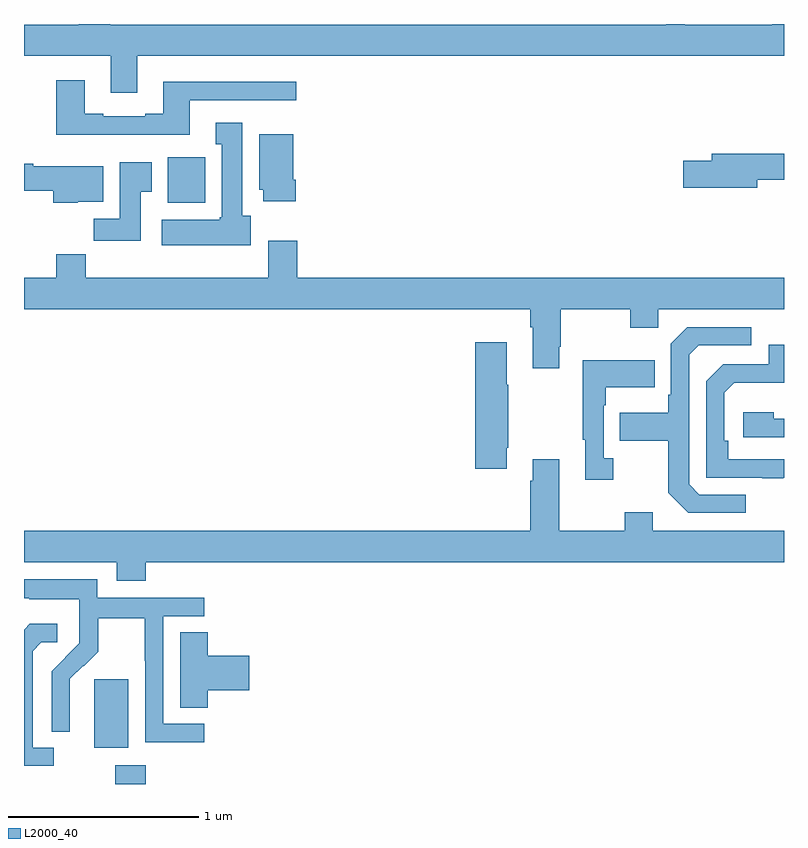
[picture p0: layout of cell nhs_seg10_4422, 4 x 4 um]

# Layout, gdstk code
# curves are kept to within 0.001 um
import gdstk
lib = gdstk.Library(unit=1e-6, precision=1e-09)
def R(c, l, rs):  # rectangles x0, y0, x1, y1
    for r in rs: c.add(gdstk.rectangle(r[:2], r[2:], *l))
def P(c, l, *ps):  # polygons
    for p in ps: c.add(gdstk.Polygon(p, *l))
L2000_40 = (2000, 40)

nhs_seg10_4422 = lib.new_cell('nhs_seg10_4422')
R(nhs_seg10_4422, L2000_40, [(361.48,1280.5,361.64,1280.599), (361.37,1280.69,361.549,1281.051), (361.757,1283.558,361.954,1283.8)])
P(nhs_seg10_4422, L2000_40, [(361.597,1284.332),(365,1284.332),(365,1284.5),(364.939,1284.5),(364.939,1284.496),(364.478,1284.496),(364.478,1284.5),(364.379,1284.5),(364.379,1284.496),(361.454,1284.496),(361.454,1284.5),(361.289,1284.5),(361.289,1284.496),(361,1284.496),(361,1284.332),(361.457,1284.332),(361.457,1284.138),(361.597,1284.138)],
  [(361.873,1284.099),(362.434,1284.099),(362.434,1284.196),(361.733,1284.196),(361.733,1284.028),(361.637,1284.028),(361.637,1284.015),(361.417,1284.015),(361.417,1284.028),(361.321,1284.028),(361.321,1284.205),(361.169,1284.205),(361.169,1283.918),(361.873,1283.918)],
  [(362.194,1283.49),(362.149,1283.49),(362.149,1283.98),(362.009,1283.98),(362.009,1283.867),(362.042,1283.867),(362.042,1283.484),(362.029,1283.484),(362.029,1283.47),(361.725,1283.47),(361.725,1283.336),(362.194,1283.336)],
  [(362.429,1283.68),(362.416,1283.68),(362.416,1283.92),(362.237,1283.92),(362.237,1283.628),(362.258,1283.628),(362.258,1283.568),(362.429,1283.568)],
  [(364.858,1283.68),(365,1283.68),(365,1283.816),(364.619,1283.816),(364.619,1283.78),(364.47,1283.78),(364.47,1283.638),(364.858,1283.638)],
  [(361.615,1283.617),(361.672,1283.617),(361.672,1283.773),(361.505,1283.773),(361.505,1283.476),(361.366,1283.476),(361.366,1283.358),(361.615,1283.358)],
  [(361.284,1283.564),(361.417,1283.564),(361.417,1283.752),(361.048,1283.752),(361.048,1283.765),(361,1283.765),(361,1283.623),(361.154,1283.623),(361.154,1283.558),(361.284,1283.558)],
  [(363.817,1282.801),(363.825,1282.801),(363.825,1283),(364.192,1283),(364.192,1282.901),(364.338,1282.901),(364.338,1283),(365,1283),(365,1283.164),(362.438,1283.164),(362.438,1283.359),(362.285,1283.359),(362.285,1283.164),(361.325,1283.164),(361.325,1283.288),(361.169,1283.288),(361.169,1283.164),(361,1283.164),(361,1283),(363.665,1283),(363.665,1282.904),(363.677,1282.904),(363.677,1282.689),(363.817,1282.689)],
  [(364.798,1282.023),(364.554,1282.023),(364.5,1282.077),(364.5,1282.758),(364.551,1282.809),(364.828,1282.809),(364.828,1282.905),(364.491,1282.905),(364.404,1282.818),(364.404,1282.549),(364.392,1282.549),(364.392,1282.453),(364.135,1282.453),(364.135,1282.306),(364.392,1282.306),(364.392,1282.033),(364.497,1281.927),(364.798,1281.927)],
  [(363.541,1282.27),(363.549,1282.27),(363.549,1282.601),(363.541,1282.601),(363.541,1282.825),(363.374,1282.825),(363.374,1282.158),(363.541,1282.158)],
  [(364.997,1282.113),(365,1282.113),(365,1282.209),(364.706,1282.209),(364.706,1282.306),(364.686,1282.306),(364.686,1282.56),(364.739,1282.613),(365,1282.613),(365,1282.812),(364.92,1282.812),(364.92,1282.71),(364.68,1282.71),(364.59,1282.62),(364.59,1282.113),(364.885,1282.113),(364.885,1282.108),(364.997,1282.108)],
  [(364.102,1282.214),(364.05,1282.214),(364.05,1282.493),(364.063,1282.493),(364.063,1282.589),(364.319,1282.589),(364.319,1282.729),(363.942,1282.729),(363.942,1282.313),(363.953,1282.313),(363.953,1282.101),(364.102,1282.101)],
  [(365,1282.422),(364.946,1282.422),(364.946,1282.456),(364.785,1282.456),(364.785,1282.326),(365,1282.326)],
  [(361.64,1281.668),(365,1281.668),(365,1281.832),(364.309,1281.832),(364.309,1281.931),(364.162,1281.931),(364.162,1281.832),(363.817,1281.832),(363.817,1282.21),(363.677,1282.21),(363.677,1282.097),(363.665,1282.097),(363.665,1281.832),(361,1281.832),(361,1281.668),(361.487,1281.668),(361.487,1281.569),(361.64,1281.569)],
  [(361.948,1280.817),(361.734,1280.817),(361.734,1281.384),(361.948,1281.384),(361.948,1281.48),(361.386,1281.48),(361.386,1281.577),(361,1281.577),(361,1281.477),(361.027,1281.477),(361.027,1281.473),(361.29,1281.473),(361.29,1281.339),(361.292,1281.339),(361.292,1281.242),(361.146,1281.094),(361.146,1280.776),(361.242,1280.776),(361.241,1281.053),(361.311,1281.123),(361.314,1281.12),(361.391,1281.197),(361.391,1281.372),(361.636,1281.372),(361.636,1281.148),(361.638,1281.148),(361.638,1280.719),(361.948,1280.719)],
  [(361.156,1280.691),(361.045,1280.691),(361.045,1281.199),(361.092,1281.246),(361.174,1281.246),(361.174,1281.343),(361.03,1281.343),(361,1281.313),(361,1280.595),(361.156,1280.595)],
  [(361.967,1280.993),(362.185,1280.993),(362.185,1281.176),(361.967,1281.176),(361.967,1281.299),(361.823,1281.299),(361.823,1280.902),(361.967,1280.902)])

lib.write_gds('nhs_seg10_4422.gds')
